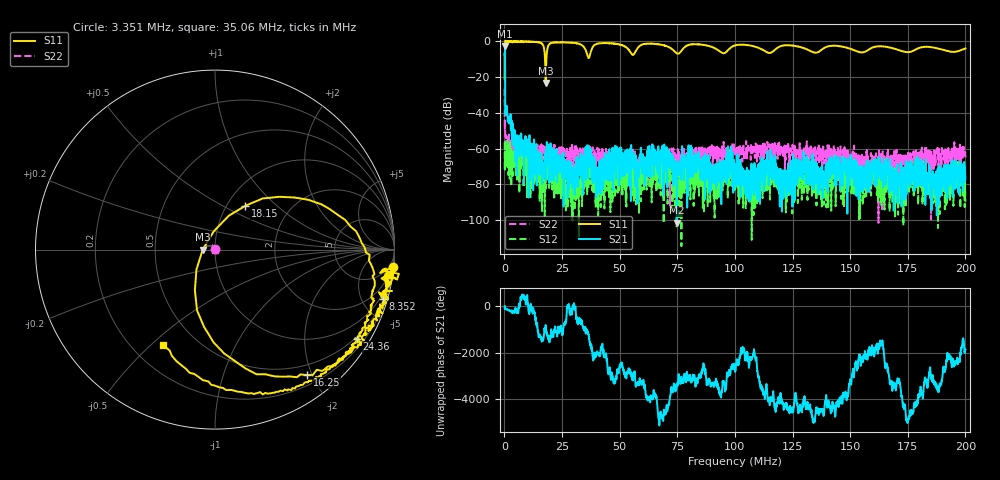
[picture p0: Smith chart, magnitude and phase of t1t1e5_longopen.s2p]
! 12-May-26 12:31:00 PM
! E:\REC_VNA_20260512\T1T1E5_LONGOPEN.S2P
! CHANNEL.1
! TR.MEASUREMENT
! CORRECTED.DATA
# GHZ S RI R 50.0
! FREQ.GHZ  S11RE  S11IM  S21RE  S21IM  S12RE  S12IM  S22RE  S22IM
!; PortSelection: Port_12
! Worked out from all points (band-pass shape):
!   2000 points, 50 kHz to 200 MHz, reference 50 ohm
!   highest |S21| = -2.67 dB at 250 kHz (marker M1); lowest = -101.5 dB at 74.87 MHz (marker M2)
!   |S21| within 3 dB of the highest: 195.2 kHz to 257.9 kHz (62.79 kHz wide, 27.7 % of centre)
!   lowest |S11| = -23.3 dB at 17.85 MHz (marker M3), VSWR 1.15, Z = 43.6 - j0.00624 ohm
!   |S11| at or under -10 dB: 69.91 kHz to 220.4 kHz (150.5 kHz wide, 104 % of centre); 17.59 MHz to 18.18 MHz (590.2 kHz wide, 3.3 % of centre)
!   |S22| runs from -101.6 to -26.6 dB; largest |S21 - S12| = 0.74
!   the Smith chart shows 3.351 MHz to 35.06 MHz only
!   S11 on the Smith chart (normalised r, x): 3.351 MHz: 1, -20; 8.352 MHz: 0.60, -6.86; 16.25 MHz: 0.34, -1.93; 18.15 MHz: 1.22, +0.65; 24.36 MHz: 0.44, -3.41; 35.06 MHz: 0.33, -0.55
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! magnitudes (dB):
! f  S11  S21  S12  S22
! 50 kHz  -7.1  -7.1  -71.5  -26.6
! 250 kHz  -5.2  -2.7  -71.9  -43.9
! 1.35 MHz  0.3  -42.4  -55.6  -61.3
! 3.351 MHz  0.0  -49.3  -75.5  -62.3
! 5.651 MHz  -0.5  -52.6  -69.7  -59.6
! 8.352 MHz  -0.2  -56.5  -81.8  -56.6
! 16.25 MHz  -1.2  -71.0  -95.0  -63.8
! 17.85 MHz  -23.3  -67.1  -76.2  -59.4
! 18.15 MHz  -10.5  -61.9  -67.3  -65.1
! 24.36 MHz  -0.6  -69.9  -73.9  -63.8
! 33.46 MHz  -2.1  -67.4  -73.3  -59.8
! 35.06 MHz  -4.4  -72.8  -74.7  -63.3
! 40.26 MHz  -1.3  -74.2  -81.5  -59.6
! 49.06 MHz  -1.5  -63.1  -84.7  -67.6
! 66.77 MHz  -1.6  -58.7  -74.1  -65.6
! 74.87 MHz  -6.8  -101.5  -78.1  -63.3
! 83.67 MHz  -1.6  -62.9  -70.6  -63.8
! 100.1 MHz  -2.2  -70.0  -83.0  -63.9
! 133.4 MHz  -5.8  -75.1  -86.4  -61.5
! 161.3 MHz  -2.9  -66.8  -76.2  -72.8
! 166.7 MHz  -3.3  -68.2  -74.0  -66.8
! 200 MHz  -4.0  -77.4  -89.7  -64.9
